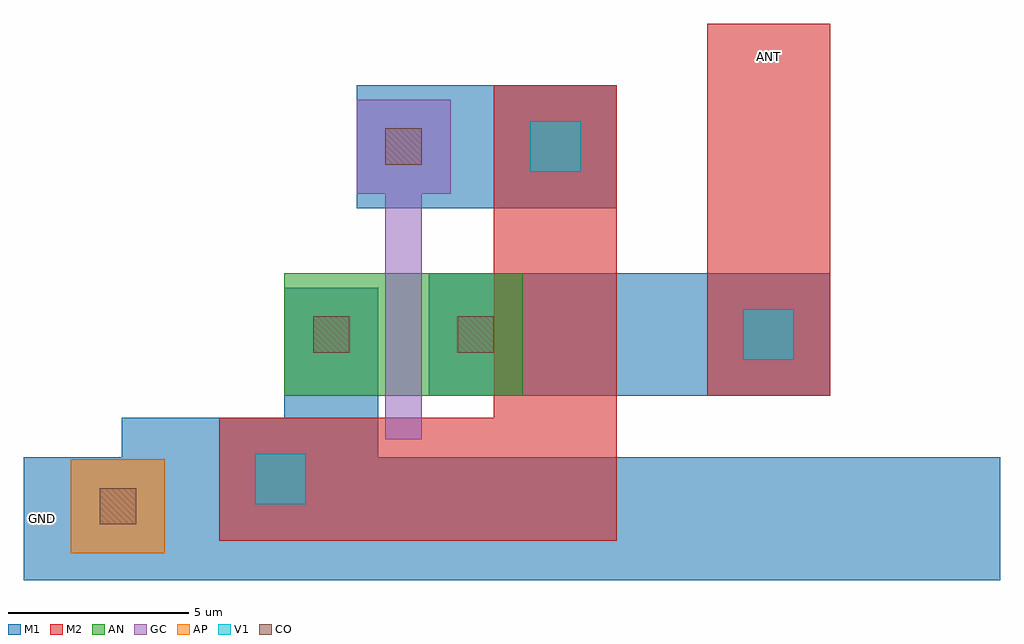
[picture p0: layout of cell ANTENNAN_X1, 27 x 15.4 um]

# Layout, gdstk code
import gdstk
lib = gdstk.Library(unit=1e-6, precision=1e-09)
def R(c, l, rs):  # rectangles x0, y0, x1, y1
    for r in rs: c.add(gdstk.rectangle(r[:2], r[2:], *l))
AP = (3, 1)
AN = (3, 2)
GC = (8, 1)
CO = (11, 0)
M1 = (13, 0)
V1 = (19, 0)
M2 = (20, 0)

antennan_x1 = lib.new_cell('ANTENNAN_X1')
R(antennan_x1, AP, [(1.3,0.75,3.9,3.35)])
R(antennan_x1, AN, [(7.2,5.1,13.8,8.5)])
R(antennan_x1, GC, [(10,3.9,11,13.3), (9.2,10.7,11.8,13.3)])
R(antennan_x1, CO, [(2.1,1.55,3.1,2.55), (8,6.3,9,7.3), (12,6.3,13,7.3), (10,11.5,11,12.5)])
R(antennan_x1, M1, [(0,0,27,3.4), (7.2,0,9.8,8.1), (2.7,1.1,9.8,4.5), (11.2,5.1,22.3,8.5), (9.2,10.3,16.4,13.7)])
R(antennan_x1, V1, [(6.4,2.1,7.8,3.5), (19.9,6.1,21.3,7.5), (14,11.3,15.4,12.7)])
R(antennan_x1, M2, [(5.4,1.1,16.4,4.5), (13,1.1,16.4,13.7), (18.9,5.1,22.3,15.4)])
antennan_x1.add(gdstk.Label('GND', (0.5,1.7), layer=48, texttype=0))
antennan_x1.add(gdstk.Label('ANT', (20.6,14.5), layer=49, texttype=0))

lib.write_gds('ANTENNAN_X1.gds')
